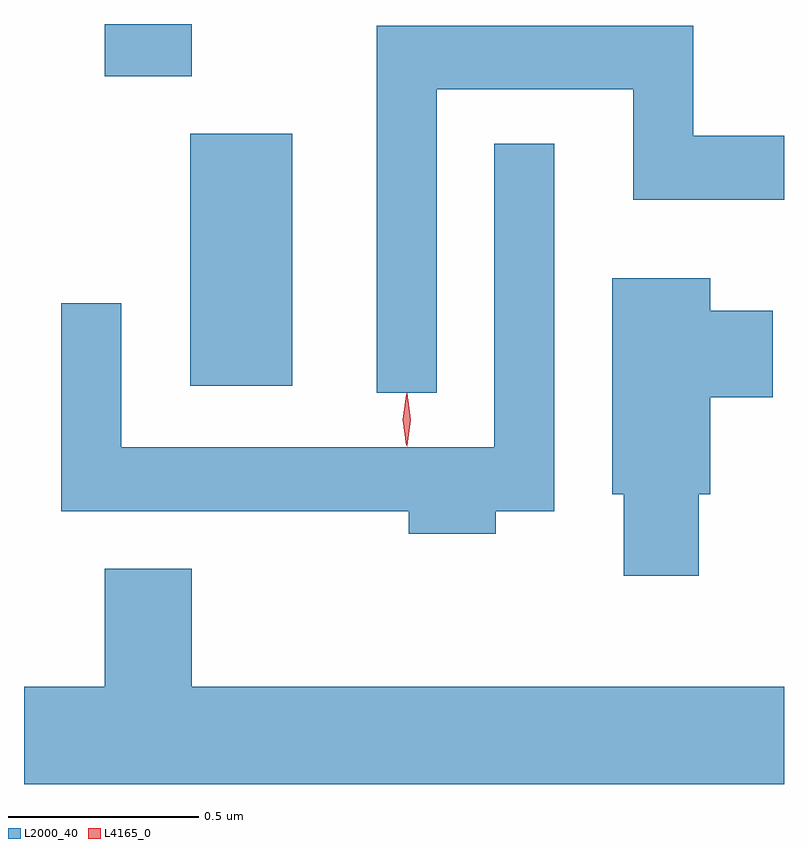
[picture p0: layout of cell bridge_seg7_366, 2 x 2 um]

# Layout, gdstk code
import gdstk
lib = gdstk.Library(unit=1e-6, precision=1e-09)
def R(c, l, rs):  # rectangles x0, y0, x1, y1
    for r in rs: c.add(gdstk.rectangle(r[:2], r[2:], *l))
def P(c, l, *ps):  # polygons
    for p in ps: c.add(gdstk.Polygon(p, *l))
L2000_40 = (2000, 40)
L4165_0 = (4165, 0)

bridge_seg7_366 = lib.new_cell('bridge_seg7_366')
R(bridge_seg7_366, L2000_40, [(1196.136,1761.996,1196.404,1762.659), (1195.911,1762.811,1196.139,1762.948)])
P(bridge_seg7_366, L2000_40, [(1196.784,1762.776),(1197.301,1762.776),(1197.301,1762.486),(1197.698,1762.486),(1197.698,1762.654),(1197.459,1762.654),(1197.459,1762.944),(1196.626,1762.944),(1196.626,1761.978),(1196.784,1761.978)],
  [(1196.939,1761.666),(1197.094,1761.666),(1197.094,1762.633),(1196.936,1762.633),(1196.936,1761.834),(1195.954,1761.834),(1195.954,1762.213),(1195.796,1762.213),(1195.796,1761.666),(1196.711,1761.666),(1196.711,1761.606),(1196.939,1761.606)],
  [(1197.474,1761.711),(1197.504,1761.711),(1197.504,1761.966),(1197.669,1761.966),(1197.669,1762.194),(1197.504,1762.194),(1197.504,1762.279),(1197.246,1762.279),(1197.246,1761.711),(1197.276,1761.711),(1197.276,1761.496),(1197.474,1761.496)],
  [(1197.698,1761.204),(1196.139,1761.204),(1196.139,1761.514),(1195.911,1761.514),(1195.911,1761.204),(1195.698,1761.204),(1195.698,1760.948),(1197.698,1760.948)])
P(bridge_seg7_366, L4165_0, [(1196.706,1761.837),(1196.706,1761.838),(1196.696,1761.907),(1196.705,1761.976),(1196.706,1761.976),(1196.706,1761.976),(1196.716,1761.907),(1196.707,1761.838)],
  [(1196.705,1761.839),(1196.704,1761.84),(1196.695,1761.906),(1196.704,1761.972),(1196.705,1761.973),(1196.705,1761.972),(1196.715,1761.906),(1196.705,1761.84)])

lib.write_gds('bridge_seg7_366.gds')
